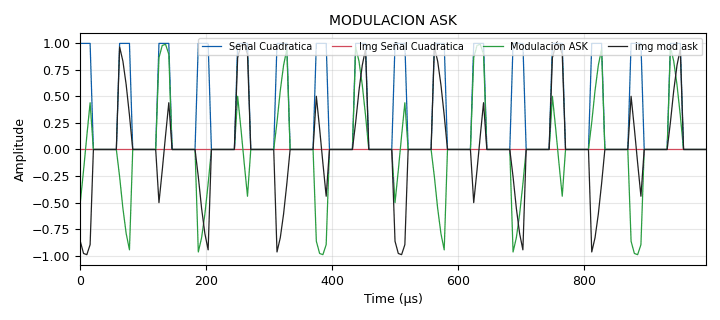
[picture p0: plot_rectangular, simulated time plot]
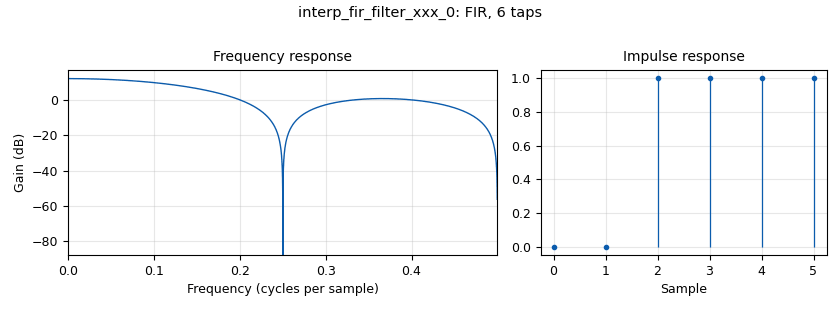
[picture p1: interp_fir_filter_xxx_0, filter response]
options:
  parameters:
    author: Camila Vinza
    generate_options: qt_gui
    id: ASK
    output_language: python
    title: ASK
  states: {}

blocks:
- name: delay
  id: variable_qtgui_range
  parameters:
    label: Delay USRP
    start: '1'
    step: '10e-3'
    stop: '20'
    value: '1'
  states: {}
- name: freq_rds
  id: variable
  parameters:
    value: 90e6
  states: {}
- name: gainrx
  id: variable_qtgui_range
  parameters:
    label: GananciaRx
    start: '1'
    step: '1'
    stop: '100'
    value: '35'
  states: {}
- name: gaintx
  id: variable_qtgui_range
  parameters:
    label: GananciaTx
    start: '1'
    step: '1'
    stop: '100'
    value: '40'
  states: {}
- name: h
  id: variable
  parameters:
    value: np.array([0,0,1,1,1,1])
  states: {}
- name: interpolation
  id: variable
  parameters:
    comment: Interpolation
    value: '1'
  states: {}
- name: len_key
  id: variable
  parameters:
    value: '"packet_len"'
  states: {}
- name: rb
  id: variable
  parameters:
    value: '32000'
  states: {}
- name: samp_rate
  id: variable
  parameters:
    value: rb*sps
  states: {}
- name: samp_rate_RDS
  id: variable
  parameters:
    value: samp_rate*interpolation
  states: {}
- name: sps
  id: variable
  parameters:
    value: len(h)
  states: {}
- name: analog_random_source_x_0
  id: analog_random_source_x
  parameters:
    max: '2'
    min: '0'
    num_samps: int(1e6)
    repeat: 'True'
    type: byte
  states: {state: disabled}
- name: analog_sig_source_x_0
  id: analog_sig_source_x
  parameters:
    amp: '1'
    freq: 10e3
    offset: '0'
    phase: '0'
    samp_rate: samp_rate
    type: complex
    waveform: analog.GR_COS_WAVE
  states: {}
- name: analog_sig_source_x_0_0
  id: analog_sig_source_x
  parameters:
    amp: '1'
    freq: 10e3
    offset: '0'
    phase: '0'
    samp_rate: samp_rate
    type: complex
    waveform: analog.GR_COS_WAVE
  states: {}
- name: blocks_char_to_float_0
  id: blocks_char_to_float
  parameters:
    scale: '1'
  states: {}
- name: blocks_complex_to_mag_0
  id: blocks_complex_to_mag
  parameters: {}
  states: {}
- name: blocks_multiply_xx_0
  id: blocks_multiply_xx
  parameters:
    type: complex
  states: {}
- name: blocks_threshold_ff_0
  id: blocks_threshold_ff
  parameters:
    high: '500e-6'
    init: '0'
    low: '500e-6'
  states: {}
- name: blocks_throttle2_0
  id: blocks_throttle2
  parameters:
    samples_per_second: samp_rate
    type: float
  states: {}
- name: blocks_vector_source_x_0_1_0
  id: blocks_vector_source_x
  parameters:
    repeat: 'True'
    type: byte
    vector: '[0,1,0,1,0,1]'
  states: {}
- name: import_0
  id: import
  parameters:
    imports: import numpy as np
  states: {}
- name: interp_fir_filter_xxx_0
  id: interp_fir_filter_xxx
  parameters:
    interp: sps
    taps: h
    type: fcc
  states: {}
- name: multiply
  id: blocks_multiply_xx
  parameters:
    type: complex
  states: {}
- name: plot_rectangular
  id: qtgui_time_sink_x
  parameters:
    autoscale: 'True'
    color3: dark red
    ctrlpanel: 'True'
    label1: Señal Cuadratica
    label2: Img Señal Cuadratica
    label3: Modulación ASK
    label4: img mod ask
    name: '"MODULACION ASK"'
    nconnections: '2'
    size: 32*sps
    srate: samp_rate
    type: complex
    update_time: '0.50'
    width2: '0'
    width4: '0'
  states: {}
- name: qtgui_time_sink_x_0
  id: qtgui_time_sink_x
  parameters:
    autoscale: 'True'
    ctrlpanel: 'True'
    grid: 'True'
    label1: Senal Digital Bandabase
    name: '"DEMODULACION ASK"'
    size: 32*sps
    srate: samp_rate
    type: float
    update_time: '0.5'
  states: {}
- name: rational_resampler_xxx_0
  id: rational_resampler_xxx
  parameters:
    decim: '1'
    interp: interpolation
    type: ccc
  states: {}
- name: rational_resampler_xxx_0_0
  id: rational_resampler_xxx
  parameters:
    decim: '1'
    interp: interpolation
    type: ccc
  states: {}
- name: uhd_usrp_sink_0
  id: uhd_usrp_sink
  parameters:
    ant0: '"TX/RX"'
    bw0: 200e3
    center_freq0: freq_rds
    comment: Transmisor USRP
    dev_addr: '"serial=30875AE"'
    gain0: gaintx
    samp_rate: samp_rate_RDS
    sync: sync
    type: fc32
  states: {}
- name: uhd_usrp_source_0
  id: uhd_usrp_source
  parameters:
    ant0: '"RX2"'
    bw0: 200e3
    center_freq0: freq_rds
    comment: Receptor USRP
    dev_addr: '"serial=30875AE"'
    gain0: gainrx
    samp_rate: samp_rate_RDS
    sync: pc_clock
    type: fc32
  states: {}

connections:
- [analog_random_source_x_0, '0', blocks_char_to_float_0, '0']
- [analog_sig_source_x_0, '0', multiply, '1']
- [analog_sig_source_x_0_0, '0', blocks_multiply_xx_0, '1']
- [blocks_char_to_float_0, '0', interp_fir_filter_xxx_0, '0']
- [blocks_complex_to_mag_0, '0', blocks_threshold_ff_0, '0']
- [blocks_multiply_xx_0, '0', blocks_complex_to_mag_0, '0']
- [blocks_threshold_ff_0, '0', blocks_throttle2_0, '0']
- [blocks_throttle2_0, '0', qtgui_time_sink_x_0, '0']
- [blocks_vector_source_x_0_1_0, '0', blocks_char_to_float_0, '0']
- [interp_fir_filter_xxx_0, '0', multiply, '0']
- [interp_fir_filter_xxx_0, '0', plot_rectangular, '0']
- [multiply, '0', plot_rectangular, '1']
- [multiply, '0', rational_resampler_xxx_0, '0']
- [rational_resampler_xxx_0, '0', uhd_usrp_sink_0, '0']
- [rational_resampler_xxx_0_0, '0', blocks_multiply_xx_0, '0']
- [uhd_usrp_source_0, '0', rational_resampler_xxx_0_0, '0']

metadata:
  file_format: 1
  grc_version: 3.10.8.0
